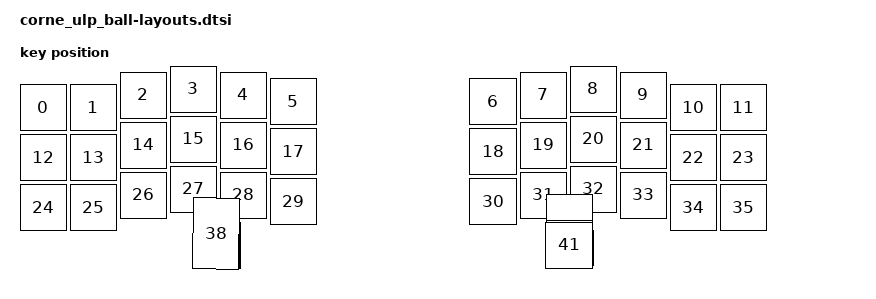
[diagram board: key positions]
// See https://zmk.dev/docs/development/hardware-integration/physical-layouts
// for how to configure this.

#include <physical_layouts.dtsi>

/ {
    default_layout: default_layout {
        compatible = "zmk,physical-layout";
        display-name = "Default Layout";
        transform = <&default_transform>;
        kscan = <&kscan>;

        // Edit this to define the positions and sizes of the keys, or remove it
        // if your keyboard will not support ZMK Studio.
        // https://zmk.dev/docs/development/hardware-integration/physical-layouts#optional-keys-property
        keys  //                     w   h    x    y     rot    rx    ry
            = <&key_physical_attrs 100 100    0   37      0     0     0>
            , <&key_physical_attrs 100 100  100   37      0     0     0>
            , <&key_physical_attrs 100 100  200   12      0     0     0>
            , <&key_physical_attrs 100 100  300    0      0     0     0>
            , <&key_physical_attrs 100 100  400   12      0     0     0>
            , <&key_physical_attrs 100 100  500   25      0     0     0>
            , <&key_physical_attrs 100 100  900   25      0     0     0>
            , <&key_physical_attrs 100 100 1000   12      0     0     0>
            , <&key_physical_attrs 100 100 1100    0      0     0     0>
            , <&key_physical_attrs 100 100 1200   12      0     0     0>
            , <&key_physical_attrs 100 100 1300   37      0     0     0>
            , <&key_physical_attrs 100 100 1400   37      0     0     0>
            , <&key_physical_attrs 100 100    0  137      0     0     0>
            , <&key_physical_attrs 100 100  100  137      0     0     0>
            , <&key_physical_attrs 100 100  200  112      0     0     0>
            , <&key_physical_attrs 100 100  300  100      0     0     0>
            , <&key_physical_attrs 100 100  400  112      0     0     0>
            , <&key_physical_attrs 100 100  500  125      0     0     0>
            , <&key_physical_attrs 100 100  900  125      0     0     0>
            , <&key_physical_attrs 100 100 1000  112      0     0     0>
            , <&key_physical_attrs 100 100 1100  100      0     0     0>
            , <&key_physical_attrs 100 100 1200  112      0     0     0>
            , <&key_physical_attrs 100 100 1300  137      0     0     0>
            , <&key_physical_attrs 100 100 1400  137      0     0     0>
            , <&key_physical_attrs 100 100    0  237      0     0     0>
            , <&key_physical_attrs 100 100  100  237      0     0     0>
            , <&key_physical_attrs 100 100  200  212      0     0     0>
            , <&key_physical_attrs 100 100  300  200      0     0     0>
            , <&key_physical_attrs 100 100  400  212      0     0     0>
            , <&key_physical_attrs 100 100  500  225      0     0     0>
            , <&key_physical_attrs 100 100  900  225      0     0     0>
            , <&key_physical_attrs 100 100 1000  212      0     0     0>
            , <&key_physical_attrs 100 100 1100  200      0     0     0>
            , <&key_physical_attrs 100 100 1200  212      0     0     0>
            , <&key_physical_attrs 100 100 1300  237      0     0     0>
            , <&key_physical_attrs 100 100 1400  237      0     0     0>
            , <&key_physical_attrs 100 100  348  312      0     0     0>
            , <&key_physical_attrs 100 100  348  312     15     4     8>
            , <&key_physical_attrs 100 150  348  262     30     4     8>
            , <&key_physical_attrs 100 150 1052  262  (-30)    11     8>
            , <&key_physical_attrs 100 100 1052  312  (-15)    11     8>
            , <&key_physical_attrs 100 100 1052  312      0     0     0>
            ;
    };
};
